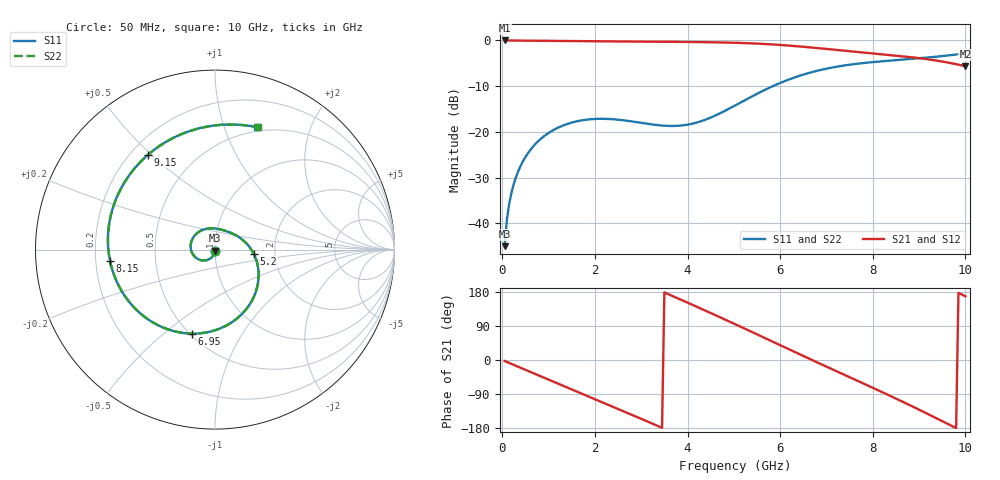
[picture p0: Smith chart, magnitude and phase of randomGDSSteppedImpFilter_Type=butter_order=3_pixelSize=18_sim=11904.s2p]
! freq	dB(S11)	phase(S11)	dB(S12)	phase(S12)
!  dB(S21)	phase(S21)	dB(S22)	phase(S22)
!S-par simulation data
#  GHz  S  DB  R 50
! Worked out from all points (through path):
!   200 points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, 50 MHz to 10 GHz, reference 50 ohm
!   highest |S21| = 0.00 dB at 50 MHz (marker M1); lowest = -5.6 dB at 10 GHz (marker M2)
!   group delay of S21, straight-line fit = 153 ps
!   lowest |S11| = -45.0 dB at 50 MHz (marker M3), VSWR 1.01, Z = 50 - j0.564 ohm
!   |S11| at or under -10 dB: start of sweep to 5.841 GHz
!   |S22| runs from -45.0 to -2.8 dB; largest |S21 - S12| = 0
!   S11 on the Smith chart (normalised r, x): 50 MHz: 1.00, -0.01; 5.2 GHz: 1.55, -0.07; 6.95 GHz: 0.51, -0.63; 8.15 GHz: 0.26, -0.05; 9.15 GHz: 0.27, +0.49; 10 GHz: 0.46, +1.30
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0.05  -44.97 -90.3  -0.00 -2.6  -0.00 -2.6  -44.97 -90.3
0.1  -39.12 -93.6  -0.01 -5.2  -0.01 -5.2  -39.12 -93.6
0.2  -33.20 -99.8  -0.02 -10.4  -0.02 -10.4  -33.21 -99.8
0.5  -25.47 -116.3  -0.05 -26.0  -0.05 -26.0  -25.48 -116.4
1.15  -19.33 -150.4  -0.12 -59.5  -0.12 -59.5  -19.33 -150.4
1.75  -17.41 178.7  -0.18 -90.3  -0.18 -90.3  -17.41 178.6
2.5  -17.32 139.7  -0.23 -129.0  -0.23 -129.0  -17.32 139.6
2.95  -17.93 116.1  -0.25 -152.5  -0.25 -152.5  -17.93 115.9
3.4  -18.56 92.1  -0.28 -176.4  -0.28 -176.4  -18.56 91.9
4.15  -18.09 51.6  -0.34 143.2  -0.34 143.2  -18.08 51.4
4.6  -16.42 27.1  -0.41 118.5  -0.41 118.5  -16.42 26.9
5.05  -14.09 2.3  -0.52 93.3  -0.52 93.3  -14.09 2.2
5.2  -13.27 -6.1  -0.57 84.8  -0.57 84.8  -13.27 -6.2
6  -9.30 -51.3  -0.98 39.2  -0.98 39.2  -9.30 -51.4
6.7  -6.89 -91.1  -1.57 -0.7  -1.57 -0.7  -6.89 -91.2
6.95  -6.28 -105.3  -1.81 -14.7  -1.81 -14.7  -6.28 -105.4
7.55  -5.24 -139.4  -2.40 -48.2  -2.40 -48.2  -5.24 -139.5
8.15  -4.60 -174.0  -2.97 -81.8  -2.97 -81.8  -4.60 -174.2
8.35  -4.44 174.2  -3.16 -93.2  -3.16 -93.2  -4.44 174.0
9.15  -3.78 125.1  -4.06 -140.1  -4.06 -140.1  -3.78 124.8
9.6  -3.31 96.5  -4.79 -167.5  -4.79 -167.5  -3.31 96.1
10  -2.84 71.0  -5.64 168.0  -5.64 168.0  -2.84 70.7
